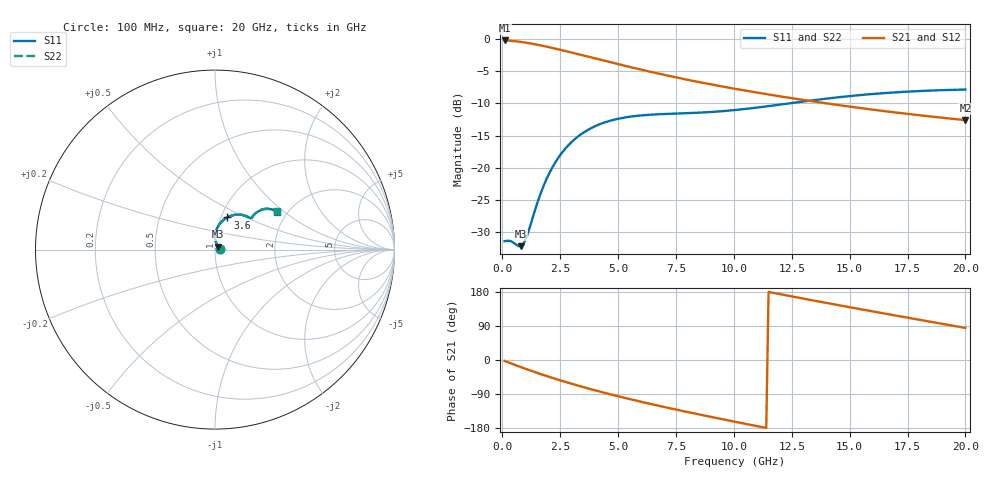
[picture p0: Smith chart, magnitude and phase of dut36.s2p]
! Touchstone file exported from HFSS 2024.1.0
!  File:  C:/UserFiles/LocalFiles/RDL_TSV_Batchsim/temp_RDL_TSV_36_1779403275.aedt
!  Generated:  06:58:13 AM May 22, 2026
!  Design:  RDL_TSV
!  Project:  temp_RDL_TSV_36_1779403275
!  Setup:  Setup1
!  Solution:  Sweep
! Variables:
!  dtsv = 11.73um
!  hbump = 3um
!  htsv = 88.05um
!  ldown = 350.09um
!  lrdl = 698.75um
!  p = 40
!  p1 = 48.22um
!  rhole = 10um
!  subl = 3845.27um
!  t = 450um
!  tdown = 4.53um
!  trdl = 2.47um
!  viad = 10um
!  wdown = 24.59um
!  wrdl = 16.92um
!  xbump = 18um
# GHz S MA R 50.000000
! Terminal data exported
! Port[1] = TM1_1_T1
! Port[2] = TM1_4_T1
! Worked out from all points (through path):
!   200 points, 100 MHz to 20 GHz, reference 50 ohm
!   highest |S21| = -0.24 dB at 100 MHz (marker M1); lowest = -12.6 dB at 20 GHz (marker M2)
!   group delay of S21, straight-line fit = 36.2 ps
!   lowest |S11| = -32.2 dB at 800 MHz (marker M3), VSWR 1.05, Z = 51.8 + j1.75 ohm
!   |S11| at or under -10 dB: start of sweep to 12.41 GHz
!   |S22| runs from -32.2 to -7.8 dB; largest |S21 - S12| = 1e-14
!   S11 on the Smith chart (normalised r, x): 100 MHz: 1.06, +0.00; 3.6 GHz: 1.07, +0.40; 20 GHz: 1.77, +0.89
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0.1  0.02691 4.7  0.9726 -2.4  0.9726 -2.4  0.02691 4.7
! Gamma 0 0 0 0
! Port Impedance 50 0 50 0
0.3  0.02715 12.7  0.9683 -7.2  0.9683 -7.2  0.02715 12.7
0.8  0.02464 43.3  0.9474 -18.7  0.9474 -18.7  0.02463 43.3
1  0.0276 62.6  0.9359 -23.1  0.9359 -23.1  0.02758 62.6
1.6  0.05926 88.8  0.8946 -35.9  0.8946 -35.9  0.05923 88.8
1.8  0.07356 89.5  0.8794 -40.0  0.8794 -40.0  0.07353 89.5
2.1  0.09587 87.9  0.8558 -46.0  0.8558 -46.0  0.09584 87.9
2.7  0.1392 80.9  0.8076 -57.4  0.8076 -57.4  0.1392 81.0
3.5  0.1872 70.3  0.7444 -71.6  0.7444 -71.6  0.1871 70.3
3.6  0.1922 69.0  0.7367 -73.3  0.7367 -73.3  0.1921 69.1
4.4  0.2242 59.9  0.678 -86.4  0.678 -86.4  0.2242 59.9
5.2  0.244 52.6  0.6247 -98.7  0.6247 -98.7  0.2439 52.7
6  0.2548 47.3  0.5773 -110.3  0.5773 -110.3  0.2548 47.4
6.8  0.2604 43.8  0.5354 -121.4  0.5354 -121.4  0.2603 43.9
8.4  0.2671 41.0  0.466 -142.4  0.466 -142.4  0.2671 41.2
10.1  0.2811 41.3  0.4086 -163.6  0.4086 -163.6  0.2813 41.5
11.6  0.3025 41.7  0.3678 178.4  0.3678 178.4  0.303 42.0
13.4  0.3337 40.9  0.3277 157.4  0.3277 157.4  0.3346 41.1
15  0.3599 38.9  0.2983 139.3  0.2983 139.3  0.3612 39.1
16.7  0.382 36.1  0.2724 120.5  0.2724 120.5  0.3836 36.4
18.3  0.3959 33.6  0.2522 103.0  0.2522 103.0  0.398 33.9
20  0.4047 31.4  0.2343 84.7  0.2343 84.7  0.4071 31.6
